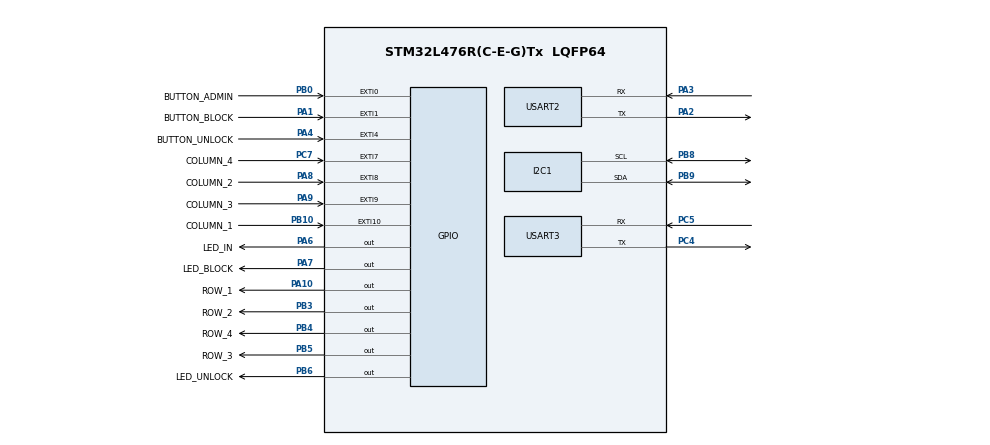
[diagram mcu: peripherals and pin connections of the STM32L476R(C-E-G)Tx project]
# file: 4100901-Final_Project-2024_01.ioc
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Mcu.Family=STM32L4
Mcu.Name=STM32L476R(C-E-G)Tx
Mcu.Package=LQFP64
NVIC.EXTI0_IRQn=true\:0\:0\:false\:false\:true\:true\:true\:true
NVIC.EXTI15_10_IRQn=true\:0\:0\:false\:false\:true\:true\:true\:true
NVIC.EXTI1_IRQn=true\:0\:0\:false\:false\:true\:true\:true\:true
NVIC.EXTI4_IRQn=true\:0\:0\:false\:false\:true\:true\:true\:true
NVIC.EXTI9_5_IRQn=true\:0\:0\:false\:false\:true\:true\:true\:true
NVIC.PriorityGroup=NVIC_PRIORITYGROUP_4
NVIC.USART2_IRQn=true\:0\:0\:false\:false\:true\:true\:true\:true
NVIC.USART3_IRQn=true\:0\:0\:false\:false\:true\:true\:true\:true
PA1.GPIO_Label=BUTTON_BLOCK
PA1.GPIO_ModeDefaultEXTI=GPIO_MODE_IT_FALLING
PA1.GPIO_PuPd=GPIO_PULLUP
PA1.Signal=GPXTI1
PA10.GPIO_Label=ROW_1
PA10.GPIO_ModeDefaultOutputPP=GPIO_MODE_OUTPUT_PP
PA10.GPIO_Speed=GPIO_SPEED_FREQ_HIGH
PA10.PinState=GPIO_PIN_SET
PA10.Signal=GPIO_Output
PA2.Mode=Asynchronous
PA2.Signal=USART2_TX
PA3.Mode=Asynchronous
PA3.Signal=USART2_RX
PA4.GPIO_Label=BUTTON_UNLOCK
PA4.GPIO_ModeDefaultEXTI=GPIO_MODE_IT_FALLING
PA4.GPIO_PuPd=GPIO_PULLUP
PA4.Signal=GPXTI4
PA6.GPIO_Label=LED_IN
PA6.Signal=GPIO_Output
PA7.GPIO_Label=LED_BLOCK
PA7.Signal=GPIO_Output
PA8.GPIO_Label=COLUMN_2
PA8.GPIO_PuPd=GPIO_PULLDOWN
PA8.Signal=GPXTI8
PA9.GPIO_Label=COLUMN_3
PA9.GPIO_PuPd=GPIO_PULLDOWN
PA9.Signal=GPXTI9
PB0.GPIO_Label=BUTTON_ADMIN
PB0.GPIO_PuPd=GPIO_PULLUP
PB0.Signal=GPXTI0
PB10.GPIO_Label=COLUMN_1
PB10.GPIO_PuPd=GPIO_PULLDOWN
PB10.Signal=GPXTI10
PB3\ (JTDO-TRACESWO).GPIO_Label=ROW_2
PB3\ (JTDO-TRACESWO).GPIO_ModeDefaultOutputPP=GPIO_MODE_OUTPUT_PP
PB3\ (JTDO-TRACESWO).GPIO_Speed=GPIO_SPEED_FREQ_HIGH
PB3\ (JTDO-TRACESWO).PinState=GPIO_PIN_SET
PB3\ (JTDO-TRACESWO).Signal=GPIO_Output
PB4\ (NJTRST).GPIO_Label=ROW_4
PB4\ (NJTRST).GPIO_ModeDefaultOutputPP=GPIO_MODE_OUTPUT_PP
PB4\ (NJTRST).GPIO_Speed=GPIO_SPEED_FREQ_HIGH
PB4\ (NJTRST).PinState=GPIO_PIN_SET
PB4\ (NJTRST).Signal=GPIO_Output
PB5.GPIO_Label=ROW_3
PB5.GPIO_ModeDefaultOutputPP=GPIO_MODE_OUTPUT_PP
PB5.GPIO_Speed=GPIO_SPEED_FREQ_HIGH
PB5.PinState=GPIO_PIN_SET
PB5.Signal=GPIO_Output
PB6.GPIO_Label=LED_UNLOCK
PB6.Signal=GPIO_Output
PB8.Mode=I2C
PB8.Signal=I2C1_SCL
PB9.Mode=I2C
PB9.Signal=I2C1_SDA
PC4.Mode=Asynchronous
PC4.Signal=USART3_TX
PC5.Mode=Asynchronous
PC5.Signal=USART3_RX
PC7.GPIO_Label=COLUMN_4
PC7.GPIO_PuPd=GPIO_PULLDOWN
PC7.Signal=GPXTI7
ProjectManager.HeapSize=0x200
ProjectManager.StackSize=0x400
ProjectManager.TargetToolchain=STM32CubeIDE
RCC.HSE_VALUE=8000000
RCC.HSI_VALUE=16000000
RCC.LSE_VALUE=32768
RCC.MSI_VALUE=4000000
RCC.VCOOutputFreq_Value=32000000
USART2.VirtualMode-Asynchronous=VM_ASYNC
USART3.VirtualMode-Asynchronous=VM_ASYNC
VP_RTC_VS_RTC_Activate.Mode=RTC_Enabled
board=custom

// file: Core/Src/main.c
/* USER CODE BEGIN Header */
/**
  ******************************************************************************
  * @file           : main.c
  * @brief          : Main program body
  ******************************************************************************
  * @attention
  *
  * Copyright (c) 2024 STMicroelectronics.
  * All rights reserved.
  *
  * This software is licensed under terms that can be found in the LICENSE file
  * in the root directory of this software component.
  * If no LICENSE file comes with this software, it is provided AS-IS.
  *
  ******************************************************************************
  */
/* USER CODE END Header */
#include "main.h"
/* USER CODE BEGIN Includes */
#include <stdio.h>
#include <string.h>
#include <stdlib.h>

#include "ssd1306.h" // OLED display library
#include "ssd1306_fonts.h" // Fonts for the OLED Display

#include "ring_buffer.h" // Handles ring buffer for UART
#include "keypad.h" // Keypad Input Handler
#include "led.h" // LED Control Functions
#include "admin.h" // Admin Mode Functions
/* USER CODE END Includes */

I2C_HandleTypeDef hi2c1;

RTC_HandleTypeDef hrtc;

UART_HandleTypeDef huart2;
UART_HandleTypeDef huart3;

/* USER CODE BEGIN PV */
// USART Buffers for USART2 and USART3
#define USART2_BUFFER_SIZE 8
uint8_t usart2_buffer[USART2_BUFFER_SIZE]; //Data Buffer for USART2
ring_buffer_t usart2_rb; // Ring Buffer for USART2
uint8_t usart2_rx; // Stores byte received from USART2

#define USART3_BUFFER_SIZE 64
uint8_t usart3_buffer[USART2_BUFFER_SIZE]; // Data Buffer for USART3
ring_buffer_t usart3_rb; // Ring Buffer for USART3
uint8_t usart3_rx; // Stores byte received from USART3

// Variables to track system state
uint32_t left_toggles = 0; // Toggle counter for button
uint32_t left_last_press_tick = 0; // Last time button was pressed

// Security code settings
#define SECURITY_CODE_LENGTH 5
char security_code[SECURITY_CODE_LENGTH + 1] = "12345"; //Default security code
char input_code[SECURITY_CODE_LENGTH + 1] = {0}; // Buffer for user-entered code
int input_index = 0; // Tracks position in the input code

//System State Flags
volatile uint8_t system_blocked = 1; // Start with system blocked
volatile uint8_t display_incorrect_message = 0; // Flag to show incorrect code message
volatile uint8_t waiting_for_username = 0; // Waiting for username flag
volatile uint8_t waiting_for_password = 0; // Waiting for code on unlock/block flag
volatile uint8_t waiting_for_new_code = 0; // Waiting for new security code
volatile uint8_t waiting_for_code = 0; // Waiting for code on admin mode flag
volatile uint8_t admin_mode = 0; // Admin mode enabled
/* USER CODE END PV */

void SystemClock_Config(void);
static void MX_GPIO_Init(void);
static void MX_I2C1_Init(void);
static void MX_USART2_UART_Init(void);
static void MX_USART3_UART_Init(void);
static void MX_RTC_Init(void);
/* USER CODE BEGIN PFP */
// Function Prototypes
void block_system(void); // Block the system (Locks it)
void unblock_system(void); // Unblocks the system (Unlocks it)
void process_keypad_input(char key); //Process input from the keypad
void check_security_code(void); // Verifies the entered security code
void update_led_state(void); // Updates the LED state based on system status
/* USER CODE END PFP */

/* USER CODE BEGIN 0 */
// Custom UART write function for printf output
int _write(int file, char *ptr, int len)
{
  HAL_UART_Transmit(&huart2, (uint8_t *)ptr, len, 10);
  return len;
}

// UART receive complete callback function
void HAL_UART_RxCpltCallback(UART_HandleTypeDef *huart)
{
	 if (huart->Instance == USART2) {
		  usart2_rx = USART2->RDR; // Read received type
		  ring_buffer_write(&usart2_rb, usart2_rx); // Store it in buffer
		  ATOMIC_SET_BIT(USART2->CR1, USART_CR1_RXNEIE); //Enable interrupt for next byte
	 } else if (huart->Instance == USART3){
        ring_buffer_write(&usart3_rb, usart3_rx);
        HAL_UART_Receive_IT(&huart3, &usart3_rx, 1); // Restart interrupt reception
	 }
}

// Callback function for GPIO (button press)
void HAL_GPIO_EXTI_Callback(uint16_t GPIO_Pin)
{
	uint8_t key_pressed = keypad_scan(GPIO_Pin);
	if (key_pressed != 0xFF) {
		process_keypad_input(key_pressed); //Process Keypad Input if Valid
		return;
	}
	// Handle specific button presses (Block, Unlock, Admin mode)
    if (GPIO_Pin == BUTTON_BLOCK_Pin) {
        block_system();
    } else if (GPIO_Pin == BUTTON_UNLOCK_Pin) {
    	waiting_for_password = 1;
    }else if (GPIO_Pin == BUTTON_ADMIN_Pin) {
    	waiting_for_username = 1;
    	process_admin();
    }
}
// Clears the input code buffer
void clear_input_code() {
    memset(input_code, 0, sizeof(input_code)); //Clear the buffer
    input_index = 0; // Reset index
}
// Processes input from keypad
void process_keypad_input(char key) {
    if (waiting_for_password == 1) {
        if (key == '#') {
            check_security_code(); //Validate the entered code
        } else if (key == '*') {
            clear_input_code(); //Clear the entered code
        } else if (input_index < SECURITY_CODE_LENGTH) {
            input_code[input_index++] = key; //Add new character to the code
            printf("Code Entered: %s\r\n",input_code);
        }
    }
}
// Checks if the entered security code is correct
void check_security_code(void) {
    if (strcmp(input_code, security_code) == 0) {
        printf("\r\nCorrect code. System unlocked.\r\n");
        waiting_for_password = 0;
        system_blocked = 0;
        unblock_system(); // Unlock the system
        unblock_system_led(); // LEDs active when the system is unlocked correctly
    } else {
        printf("\r\nIncorrect code. System remains locked.\r\n");
        display_incorrect_message = 1; //Show Error Message
        system_blocked = 1;
        waiting_for_password = 0; // Clear the input code after checking
    }
    clear_input_code(); // Reset buffer
}

// Block (Locks) the system
void block_system() {
    system_blocked = 1;
    waiting_for_password = 0;
    prepare_for_code_entry(); // Turn off the active LEDs
    block_system_led(); // Turn on LEDs when the system is blocked correctly
    printf("System blocked\r\n");
}
// Unblocks (unlocks) the system
void unblock_system() {
    if (system_blocked) {
        prepare_for_code_entry(); // Turn off the active LEDs
        waiting_for_password = 1;
        system_blocked = 0;
        clear_input_code(); // Reset Buffer
    }
}

void low_power_mode()
{
#define AWAKE_TIME (30 * 1000) // 30 segundos
	static uint32_t sleep_tick = AWAKE_TIME;

	if (sleep_tick > HAL_GetTick()) {
		return;
	}
	printf("Sleeping\r\n");
	sleep_tick = HAL_GetTick() + AWAKE_TIME;

	RCC->AHB1SMENR  = 0x0;
	RCC->AHB2SMENR  = 0x0;
	RCC->AHB3SMENR  = 0x0;

	RCC->APB1SMENR1 = 0x0;
	RCC->APB1SMENR2 = 0x0;
	RCC->APB2SMENR  = 0x0;

	/*Suspend Tick increment to prevent wakeup by Systick interrupt.
	Otherwise the Systick interrupt will wake up the device within 1ms (HAL time base)*/
	HAL_SuspendTick();

	/* Enter Sleep Mode , wake up is done once User push-button is pressed */
	HAL_PWR_EnterSLEEPMode(PWR_MAINREGULATOR_ON, PWR_SLEEPENTRY_WFI);

	/* Resume Tick interrupt if disabled prior to SLEEP mode entry */
	HAL_ResumeTick();

	printf("Awake\r\n");
}
/* USER CODE END 0 */

int main(void)
{

  /* MCU Configuration--------------------------------------------------------*/

  /* Reset of all peripherals, Initializes the Flash interface and the Systick. */
  HAL_Init();

  /* Configure the system clock */
  SystemClock_Config();

  /* Initialize all configured peripherals */
  MX_GPIO_Init();
  MX_I2C1_Init();
  MX_USART2_UART_Init();
  MX_USART3_UART_Init();
  MX_RTC_Init();
  /* USER CODE BEGIN 2 */
  ssd1306_Init(); // Initialize the OLED display
  ring_buffer_init(&usart2_rb, usart2_buffer, USART2_BUFFER_SIZE); // Initialize USART2 buffer
  ring_buffer_init(&usart3_rb, usart3_buffer, USART3_BUFFER_SIZE); // Initialize USART3 buffer

  /* USER CODE END 2 */

  /* Infinite loop */
  /* USER CODE BEGIN WHILE */
  printf("Starting...\r\n");
  ATOMIC_SET_BIT(USART2->CR1, USART_CR1_RXNEIE); // Start UART reception interrupt for USART2
  HAL_UART_Receive_IT(&huart3, &usart3_rx, 1); // Start UART reception interrupt for USART3
  while (1) {
	  update_led_state(); // Update LEDs based on system state

	  //Activation of Admin Mode (Process to change password)
      if(waiting_for_username == 1){
    	  read_user();
      }
      if (waiting_for_code == 1){
    	  read_code();
      }
      if (waiting_for_new_code == 1){
    	  read_newcode();
      }

      // Printing messages on OLED accord to the flags and current functions
      if (display_incorrect_message) {
          ssd1306_Fill(Black);
          ssd1306_SetCursor(12, 24);
          ssd1306_WriteString("INCORRECT CODE", Font_7x10, White);
          HAL_Delay(200);
          ssd1306_UpdateScreen();
          display_incorrect_message = 0;
          system_blocked = 1;
      } else if (system_blocked == 0) {
          ssd1306_Fill(Black);
          ssd1306_SetCursor(12, 24);
          ssd1306_WriteString("SYSTEM UNLOCKED", Font_7x10, White);
          ssd1306_UpdateScreen();
      } else if (waiting_for_password == 1) {
          ssd1306_Fill(Black);
          ssd1306_SetCursor(12, 24);
          ssd1306_WriteString("ENTER CODE:", Font_7x10, White);
          ssd1306_SetCursor(12, 40);
          ssd1306_WriteString(input_code, Font_7x10, White);
          ssd1306_UpdateScreen();
      } else if (admin_mode == 1){
          ssd1306_Fill(Black);
          ssd1306_SetCursor(12, 24);
          ssd1306_WriteString("ADMIN MODE", Font_7x10, White);
          HAL_Delay(250);
          ssd1306_UpdateScreen();
      } else {
          ssd1306_Fill(Black);
          ssd1306_SetCursor(12, 24);
          ssd1306_WriteString("SYSTEM BLOCKED", Font_7x10, White);
          HAL_Delay(500);
          ssd1306_UpdateScreen();
      }

      HAL_Delay(100);

	  low_power_mode();
    /* USER CODE END WHILE */

  }
}

void SystemClock_Config(void)
{
  RCC_OscInitTypeDef RCC_OscInitStruct = {0};
  RCC_ClkInitTypeDef RCC_ClkInitStruct = {0};

  /** Configure the main internal regulator output voltage
  */
  if (HAL_PWREx_ControlVoltageScaling(PWR_REGULATOR_VOLTAGE_SCALE1) != HAL_OK)
  {
    Error_Handler();
  }

  /** Initializes the RCC Oscillators according to the specified parameters
  * in the RCC_OscInitTypeDef structure.
  */
  RCC_OscInitStruct.OscillatorType = RCC_OSCILLATORTYPE_LSI|RCC_OSCILLATORTYPE_MSI;
  RCC_OscInitStruct.LSIState = RCC_LSI_ON;
  RCC_OscInitStruct.MSIState = RCC_MSI_ON;
  RCC_OscInitStruct.MSICalibrationValue = 0;
  RCC_OscInitStruct.MSIClockRange = RCC_MSIRANGE_6;
  RCC_OscInitStruct.PLL.PLLState = RCC_PLL_NONE;
  if (HAL_RCC_OscConfig(&RCC_OscInitStruct) != HAL_OK)
  {
    Error_Handler();
  }

  /** Initializes the CPU, AHB and APB buses clocks
  */
  RCC_ClkInitStruct.ClockType = RCC_CLOCKTYPE_HCLK|RCC_CLOCKTYPE_SYSCLK
                              |RCC_CLOCKTYPE_PCLK1|RCC_CLOCKTYPE_PCLK2;
  RCC_ClkInitStruct.SYSCLKSource = RCC_SYSCLKSOURCE_MSI;
  RCC_ClkInitStruct.AHBCLKDivider = RCC_SYSCLK_DIV1;
  RCC_ClkInitStruct.APB1CLKDivider = RCC_HCLK_DIV1;
  RCC_ClkInitStruct.APB2CLKDivider = RCC_HCLK_DIV1;

  if (HAL_RCC_ClockConfig(&RCC_ClkInitStruct, FLASH_LATENCY_0) != HAL_OK)
  {
    Error_Handler();
  }
}

static void MX_I2C1_Init(void)
{

  hi2c1.Instance = I2C1;
  hi2c1.Init.Timing = 0x00000E14;
  hi2c1.Init.OwnAddress1 = 0;
  hi2c1.Init.AddressingMode = I2C_ADDRESSINGMODE_7BIT;
  hi2c1.Init.DualAddressMode = I2C_DUALADDRESS_DISABLE;
  hi2c1.Init.OwnAddress2 = 0;
  hi2c1.Init.OwnAddress2Masks = I2C_OA2_NOMASK;
  hi2c1.Init.GeneralCallMode = I2C_GENERALCALL_DISABLE;
  hi2c1.Init.NoStretchMode = I2C_NOSTRETCH_DISABLE;
  if (HAL_I2C_Init(&hi2c1) != HAL_OK)
  {
    Error_Handler();
  }

  /** Configure Analogue filter
  */
  if (HAL_I2CEx_ConfigAnalogFilter(&hi2c1, I2C_ANALOGFILTER_ENABLE) != HAL_OK)
  {
    Error_Handler();
  }

  /** Configure Digital filter
  */
  if (HAL_I2CEx_ConfigDigitalFilter(&hi2c1, 0) != HAL_OK)
  {
    Error_Handler();
  }

}

static void MX_RTC_Init(void)
{

  /** Initialize RTC Only
  */
  hrtc.Instance = RTC;
  hrtc.Init.HourFormat = RTC_HOURFORMAT_24;
  hrtc.Init.AsynchPrediv = 127;
  hrtc.Init.SynchPrediv = 255;
  hrtc.Init.OutPut = RTC_OUTPUT_DISABLE;
  hrtc.Init.OutPutRemap = RTC_OUTPUT_REMAP_NONE;
  hrtc.Init.OutPutPolarity = RTC_OUTPUT_POLARITY_HIGH;
  hrtc.Init.OutPutType = RTC_OUTPUT_TYPE_OPENDRAIN;
  if (HAL_RTC_Init(&hrtc) != HAL_OK)
  {
    Error_Handler();
  }

}

static void MX_USART2_UART_Init(void)
{

  huart2.Instance = USART2;
  huart2.Init.BaudRate = 115200;
  huart2.Init.WordLength = UART_WORDLENGTH_8B;
  huart2.Init.StopBits = UART_STOPBITS_1;
  huart2.Init.Parity = UART_PARITY_NONE;
  huart2.Init.Mode = UART_MODE_TX_RX;
  huart2.Init.HwFlowCtl = UART_HWCONTROL_NONE;
  huart2.Init.OverSampling = UART_OVERSAMPLING_16;
  huart2.Init.OneBitSampling = UART_ONE_BIT_SAMPLE_DISABLE;
  huart2.AdvancedInit.AdvFeatureInit = UART_ADVFEATURE_NO_INIT;
  if (HAL_UART_Init(&huart2) != HAL_OK)
  {
    Error_Handler();
  }

}

static void MX_USART3_UART_Init(void)
{

  huart3.Instance = USART3;
  huart3.Init.BaudRate = 115200;
  huart3.Init.WordLength = UART_WORDLENGTH_8B;
  huart3.Init.StopBits = UART_STOPBITS_1;
  huart3.Init.Parity = UART_PARITY_NONE;
  huart3.Init.Mode = UART_MODE_TX_RX;
  huart3.Init.HwFlowCtl = UART_HWCONTROL_NONE;
  huart3.Init.OverSampling = UART_OVERSAMPLING_16;
  huart3.Init.OneBitSampling = UART_ONE_BIT_SAMPLE_DISABLE;
  huart3.AdvancedInit.AdvFeatureInit = UART_ADVFEATURE_NO_INIT;
  if (HAL_UART_Init(&huart3) != HAL_OK)
  {
    Error_Handler();
  }

}

static void MX_GPIO_Init(void)
{
  GPIO_InitTypeDef GPIO_InitStruct = {0};

  /* GPIO Ports Clock Enable */
  __HAL_RCC_GPIOA_CLK_ENABLE();
  __HAL_RCC_GPIOC_CLK_ENABLE();
  __HAL_RCC_GPIOB_CLK_ENABLE();

  /*Configure GPIO pin Output Level */
  HAL_GPIO_WritePin(GPIOA, LED_IN_Pin|LED_BLOCK_Pin, GPIO_PIN_RESET);

  /*Configure GPIO pin Output Level */
  HAL_GPIO_WritePin(ROW_1_GPIO_Port, ROW_1_Pin, GPIO_PIN_SET);

  /*Configure GPIO pin Output Level */
  HAL_GPIO_WritePin(GPIOB, ROW_2_Pin|ROW_4_Pin|ROW_3_Pin, GPIO_PIN_SET);

  /*Configure GPIO pin Output Level */
  HAL_GPIO_WritePin(LED_UNLOCK_GPIO_Port, LED_UNLOCK_Pin, GPIO_PIN_RESET);

  /*Configure GPIO pins : BUTTON_BLOCK_Pin BUTTON_UNLOCK_Pin */
  GPIO_InitStruct.Pin = BUTTON_BLOCK_Pin|BUTTON_UNLOCK_Pin;
  GPIO_InitStruct.Mode = GPIO_MODE_IT_FALLING;
  GPIO_InitStruct.Pull = GPIO_PULLUP;
  HAL_GPIO_Init(GPIOA, &GPIO_InitStruct);

  /*Configure GPIO pins : LED_IN_Pin LED_BLOCK_Pin */
  GPIO_InitStruct.Pin = LED_IN_Pin|LED_BLOCK_Pin;
  GPIO_InitStruct.Mode = GPIO_MODE_OUTPUT_PP;
  GPIO_InitStruct.Pull = GPIO_NOPULL;
  GPIO_InitStruct.Speed = GPIO_SPEED_FREQ_LOW;
  HAL_GPIO_Init(GPIOA, &GPIO_InitStruct);

  /*Configure GPIO pin : BUTTON_ADMIN_Pin */
  GPIO_InitStruct.Pin = BUTTON_ADMIN_Pin;
  GPIO_InitStruct.Mode = GPIO_MODE_IT_RISING;
  GPIO_InitStruct.Pull = GPIO_PULLUP;
  HAL_GPIO_Init(BUTTON_ADMIN_GPIO_Port, &GPIO_InitStruct);

  /*Configure GPIO pin : COLUMN_1_Pin */
  GPIO_InitStruct.Pin = COLUMN_1_Pin;
  GPIO_InitStruct.Mode = GPIO_MODE_IT_RISING;
  GPIO_InitStruct.Pull = GPIO_PULLDOWN;
  HAL_GPIO_Init(COLUMN_1_GPIO_Port, &GPIO_InitStruct);

  /*Configure GPIO pin : COLUMN_4_Pin */
  GPIO_InitStruct.Pin = COLUMN_4_Pin;
  GPIO_InitStruct.Mode = GPIO_MODE_IT_RISING;
  GPIO_InitStruct.Pull = GPIO_PULLDOWN;
  HAL_GPIO_Init(COLUMN_4_GPIO_Port, &GPIO_InitStruct);

  /*Configure GPIO pins : COLUMN_2_Pin COLUMN_3_Pin */
  GPIO_InitStruct.Pin = COLUMN_2_Pin|COLUMN_3_Pin;
  GPIO_InitStruct.Mode = GPIO_MODE_IT_RISING;
  GPIO_InitStruct.Pull = GPIO_PULLDOWN;
  HAL_GPIO_Init(GPIOA, &GPIO_InitStruct);

  /*Configure GPIO pin : ROW_1_Pin */
  GPIO_InitStruct.Pin = ROW_1_Pin;
  GPIO_InitStruct.Mode = GPIO_MODE_OUTPUT_PP;
  GPIO_InitStruct.Pull = GPIO_NOPULL;
  GPIO_InitStruct.Speed = GPIO_SPEED_FREQ_HIGH;
  HAL_GPIO_Init(ROW_1_GPIO_Port, &GPIO_InitStruct);

  /*Configure GPIO pins : ROW_2_Pin ROW_4_Pin ROW_3_Pin */
  GPIO_InitStruct.Pin = ROW_2_Pin|ROW_4_Pin|ROW_3_Pin;
  GPIO_InitStruct.Mode = GPIO_MODE_OUTPUT_PP;
  GPIO_InitStruct.Pull = GPIO_NOPULL;
  GPIO_InitStruct.Speed = GPIO_SPEED_FREQ_HIGH;
  HAL_GPIO_Init(GPIOB, &GPIO_InitStruct);

  /*Configure GPIO pin : LED_UNLOCK_Pin */
  GPIO_InitStruct.Pin = LED_UNLOCK_Pin;
  GPIO_InitStruct.Mode = GPIO_MODE_OUTPUT_PP;
  GPIO_InitStruct.Pull = GPIO_NOPULL;
  GPIO_InitStruct.Speed = GPIO_SPEED_FREQ_LOW;
  HAL_GPIO_Init(LED_UNLOCK_GPIO_Port, &GPIO_InitStruct);

  /* EXTI interrupt init*/
  HAL_NVIC_SetPriority(EXTI0_IRQn, 0, 0);
  HAL_NVIC_EnableIRQ(EXTI0_IRQn);

  HAL_NVIC_SetPriority(EXTI1_IRQn, 0, 0);
  HAL_NVIC_EnableIRQ(EXTI1_IRQn);

  HAL_NVIC_SetPriority(EXTI4_IRQn, 0, 0);
  HAL_NVIC_EnableIRQ(EXTI4_IRQn);

  HAL_NVIC_SetPriority(EXTI9_5_IRQn, 0, 0);
  HAL_NVIC_EnableIRQ(EXTI9_5_IRQn);

  HAL_NVIC_SetPriority(EXTI15_10_IRQn, 0, 0);
  HAL_NVIC_EnableIRQ(EXTI15_10_IRQn);

}

void Error_Handler(void)
{
  __disable_irq();
  while (1)
  {
  }
}
